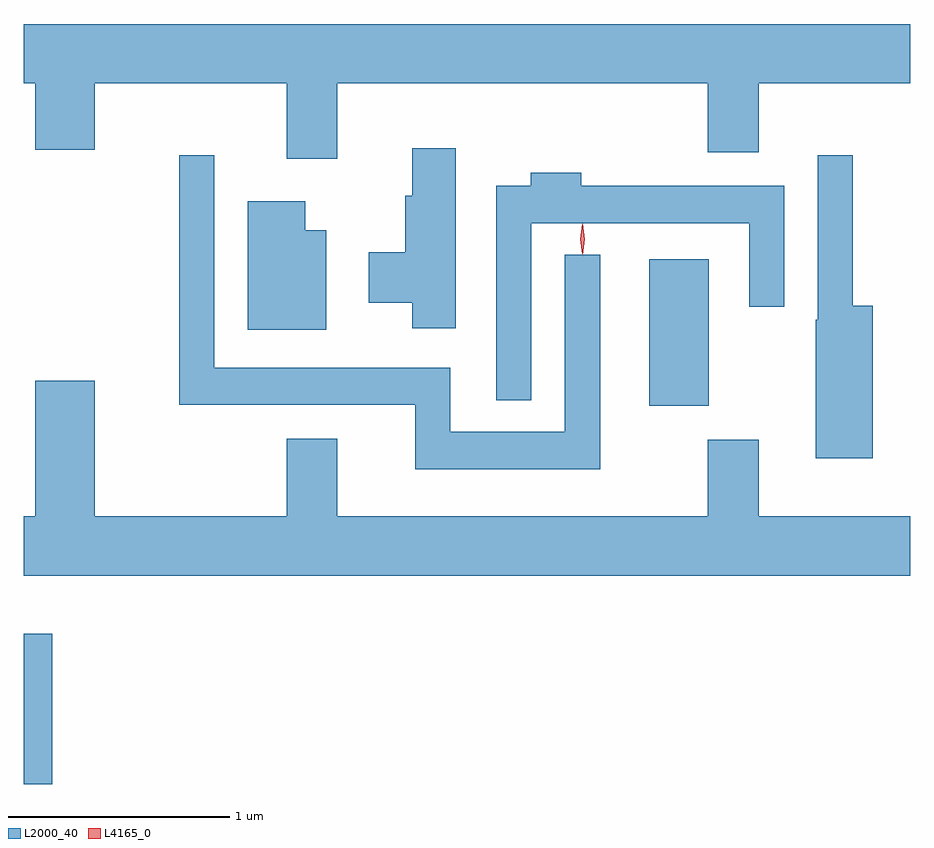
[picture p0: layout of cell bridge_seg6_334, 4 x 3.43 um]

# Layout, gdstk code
import gdstk
lib = gdstk.Library(unit=1e-6, precision=1e-09)
def R(c, l, rs):  # rectangles x0, y0, x1, y1
    for r in rs: c.add(gdstk.rectangle(r[:2], r[2:], *l))
def P(c, l, *ps):  # polygons
    for p in ps: c.add(gdstk.Polygon(p, *l))
L2000_40 = (2000, 40)
L4165_0 = (4165, 0)

bridge_seg6_334 = lib.new_cell('bridge_seg6_334')
R(bridge_seg6_334, L2000_40, [(1313.924,1557.976,1314.054,1558.654), (1316.746,1559.681,1317.014,1560.344)])
P(bridge_seg6_334, L2000_40, [(1315.339,1561.136),(1317.011,1561.136),(1317.011,1560.826),(1317.239,1560.826),(1317.239,1561.136),(1317.924,1561.136),(1317.924,1561.404),(1313.924,1561.404),(1313.924,1561.136),(1313.976,1561.136),(1313.976,1560.836),(1314.244,1560.836),(1314.244,1561.136),(1315.111,1561.136),(1315.111,1560.796),(1315.339,1560.796)],
  [(1315.874,1560.844),(1315.676,1560.844),(1315.676,1560.629),(1315.646,1560.629),(1315.646,1560.374),(1315.481,1560.374),(1315.481,1560.146),(1315.676,1560.146),(1315.676,1560.031),(1315.874,1560.031)],
  [(1317.754,1560.134),(1317.664,1560.134),(1317.664,1560.813),(1317.506,1560.813),(1317.506,1560.07),(1317.496,1560.07),(1317.496,1559.446),(1317.754,1559.446)],
  [(1316.524,1560.363),(1316.366,1560.363),(1316.366,1559.564),(1315.849,1559.564),(1315.849,1559.854),(1314.784,1559.854),(1314.784,1560.813),(1314.626,1560.813),(1314.626,1559.686),(1315.691,1559.686),(1315.691,1559.396),(1316.524,1559.396)],
  [(1316.214,1560.506),(1317.196,1560.506),(1317.196,1560.128),(1317.354,1560.128),(1317.354,1560.674),(1316.439,1560.674),(1316.439,1560.734),(1316.211,1560.734),(1316.211,1560.674),(1316.056,1560.674),(1316.056,1559.708),(1316.214,1559.708)],
  [(1315.289,1560.474),(1315.194,1560.474),(1315.194,1560.604),(1314.936,1560.604),(1314.936,1560.026),(1315.289,1560.026)],
  [(1317.924,1559.184),(1317.239,1559.184),(1317.239,1559.529),(1317.011,1559.529),(1317.011,1559.184),(1315.339,1559.184),(1315.339,1559.534),(1315.111,1559.534),(1315.111,1559.184),(1314.244,1559.184),(1314.244,1559.794),(1313.976,1559.794),(1313.976,1559.184),(1313.924,1559.184),(1313.924,1558.916),(1317.924,1558.916)])
P(bridge_seg6_334, L4165_0, [(1316.445,1560.364),(1316.445,1560.364),(1316.435,1560.434),(1316.445,1560.503),(1316.445,1560.503),(1316.446,1560.503),(1316.455,1560.434),(1316.446,1560.364)],
  [(1316.444,1560.367),(1316.444,1560.368),(1316.434,1560.434),(1316.444,1560.5),(1316.444,1560.5),(1316.444,1560.5),(1316.454,1560.434),(1316.445,1560.368)])

lib.write_gds('bridge_seg6_334.gds')
